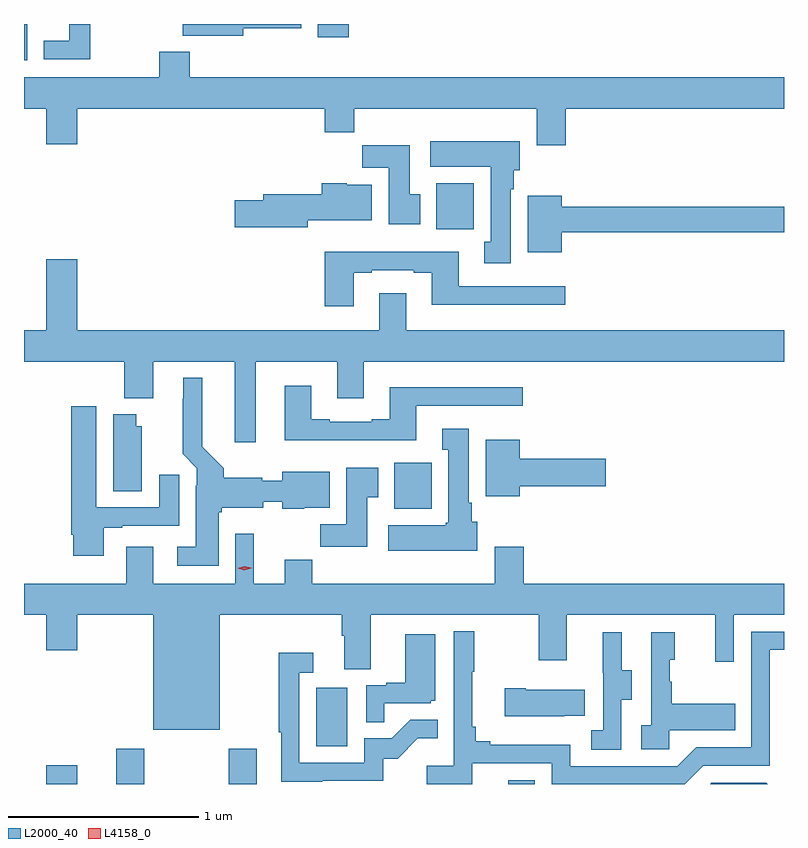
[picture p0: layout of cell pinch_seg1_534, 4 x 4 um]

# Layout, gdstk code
import gdstk
lib = gdstk.Library(unit=1e-6, precision=1e-09)
def R(c, l, rs):  # rectangles x0, y0, x1, y1
    for r in rs: c.add(gdstk.rectangle(r[:2], r[2:], *l))
def P(c, l, *ps):  # polygons
    for p in ps: c.add(gdstk.Polygon(p, *l))
L2000_40 = (2000, 40)
L4158_0 = (4158, 0)

pinch_seg1_534 = lib.new_cell('pinch_seg1_534')
R(pinch_seg1_534, L2000_40, [(1076.096,528.197,1076.26,528.295), (1076.465,528.197,1076.613,528.382), (1077.058,528.197,1077.205,528.382), (1078.529,528.197,1078.668,528.216), (1077.518,528.396,1077.682,528.703), (1077.929,529.646,1078.126,529.888), (1078.151,531.116,1078.348,531.358), (1075.98,532.005,1075.998,532.197), (1077.527,532.128,1077.688,532.197)])
P(pinch_seg1_534, L2000_40, [(1077.133,532.174),(1077.438,532.174),(1077.438,532.197),(1076.815,532.197),(1076.815,532.136),(1077.133,532.136)],
  [(1076.329,532.197),(1076.218,532.197),(1076.218,532.108),(1076.083,532.108),(1076.083,532.011),(1076.329,532.011)],
  [(1078.832,531.752),(1079.98,531.752),(1079.98,531.916),(1076.852,531.916),(1076.852,532.051),(1076.692,532.051),(1076.692,531.916),(1075.98,531.916),(1075.98,531.752),(1076.096,531.752),(1076.096,531.564),(1076.26,531.564),(1076.26,531.752),(1077.563,531.752),(1077.563,531.628),(1077.719,531.628),(1077.719,531.752),(1078.679,531.752),(1078.679,531.558),(1078.832,531.558)],
  [(1078.543,531.326),(1078.558,531.326),(1078.558,531.426),(1078.588,531.426),(1078.588,531.58),(1078.119,531.58),(1078.119,531.446),(1078.436,531.446),(1078.436,531.05),(1078.403,531.05),(1078.403,530.937),(1078.543,530.937)],
  [(1078.066,531.3),(1078.009,531.3),(1078.009,531.559),(1077.76,531.559),(1077.76,531.44),(1077.899,531.44),(1077.899,531.144),(1078.066,531.144)],
  [(1077.474,531.164),(1077.811,531.164),(1077.811,531.352),(1077.678,531.352),(1077.678,531.358),(1077.548,531.358),(1077.548,531.3),(1077.239,531.3),(1077.239,531.27),(1077.09,531.27),(1077.09,531.128),(1077.474,531.128)],
  [(1078.81,531.1),(1079.98,531.1),(1079.98,531.236),(1078.81,531.236),(1078.81,531.292),(1078.631,531.292),(1078.631,530.996),(1078.81,530.996)],
  [(1077.715,530.889),(1077.811,530.889),(1077.811,530.901),(1078.031,530.901),(1078.031,530.889),(1078.127,530.889),(1078.127,530.72),(1078.828,530.72),(1078.828,530.817),(1078.267,530.817),(1078.267,530.998),(1077.563,530.998),(1077.563,530.712),(1077.715,530.712)],
  [(1077.199,530.42),(1077.629,530.42),(1077.629,530.226),(1077.769,530.226),(1077.769,530.42),(1079.98,530.42),(1079.98,530.584),(1077.991,530.584),(1077.991,530.779),(1077.851,530.779),(1077.851,530.584),(1076.26,530.584),(1076.26,530.959),(1076.096,530.959),(1076.096,530.584),(1075.98,530.584),(1075.98,530.42),(1076.507,530.42),(1076.507,530.228),(1076.659,530.228),(1076.659,530.42),(1077.089,530.42),(1077.089,529.995),(1077.199,529.995)],
  [(1077.004,529.626),(1077.022,529.626),(1077.022,529.652),(1077.238,529.652),(1077.238,529.683),(1077.338,529.683),(1077.338,529.646),(1077.456,529.646),(1077.456,529.652),(1077.589,529.652),(1077.589,529.84),(1077.338,529.84),(1077.338,529.793),(1077.234,529.793),(1077.234,529.81),(1077.03,529.81),(1077.03,529.859),(1076.917,529.972),(1076.917,530.335),(1076.819,530.335),(1076.819,530.225),(1076.815,530.225),(1076.815,529.934),(1076.889,529.86),(1076.889,529.766),(1076.885,529.766),(1076.885,529.447),(1076.787,529.447),(1076.787,529.346),(1077.004,529.346)],
  [(1078.045,530.187),(1078.606,530.187),(1078.606,530.284),(1077.905,530.284),(1077.905,530.116),(1077.809,530.116),(1077.809,530.103),(1077.589,530.103),(1077.589,530.116),(1077.493,530.116),(1077.493,530.293),(1077.353,530.293),(1077.353,530.006),(1078.045,530.006)],
  [(1076.401,529.545),(1076.497,529.545),(1076.497,529.557),(1076.797,529.557),(1076.797,529.825),(1076.693,529.825),(1076.693,529.653),(1076.359,529.653),(1076.359,530.185),(1076.228,530.185),(1076.228,529.51),(1076.24,529.51),(1076.24,529.398),(1076.401,529.398)],
  [(1076.599,530.079),(1076.572,530.079),(1076.572,530.143),(1076.45,530.143),(1076.45,529.738),(1076.599,529.738)],
  [(1078.366,529.578),(1078.336,529.578),(1078.336,529.678),(1078.321,529.678),(1078.321,530.068),(1078.181,530.068),(1078.181,529.955),(1078.214,529.955),(1078.214,529.572),(1078.201,529.572),(1078.201,529.558),(1077.897,529.558),(1077.897,529.424),(1078.366,529.424)],
  [(1078.588,529.763),(1079.041,529.763),(1079.041,529.91),(1078.588,529.91),(1078.588,530.008),(1078.409,530.008),(1078.409,529.712),(1078.588,529.712)],
  [(1077.787,529.705),(1077.844,529.705),(1077.844,529.861),(1077.677,529.861),(1077.677,529.564),(1077.538,529.564),(1077.538,529.446),(1077.787,529.446)],
  [(1077.497,529.376),(1077.353,529.376),(1077.353,529.252),(1077.19,529.252),(1077.19,529.513),(1077.093,529.513),(1077.093,529.252),(1076.659,529.252),(1076.659,529.447),(1076.519,529.447),(1076.519,529.252),(1075.98,529.252),(1075.98,529.088),(1076.096,529.088),(1076.096,528.9),(1076.26,528.9),(1076.26,529.088),(1076.66,529.088),(1076.66,528.482),(1077.01,528.482),(1077.01,529.088),(1077.653,529.088),(1077.653,528.976),(1077.665,528.976),(1077.665,528.802),(1077.805,528.802),(1077.805,529.088),(1078.69,529.088),(1078.69,528.849),(1078.837,528.849),(1078.837,529.088),(1079.618,529.088),(1079.618,528.84),(1079.715,528.84),(1079.715,529.088),(1079.98,529.088),(1079.98,529.252),(1078.61,529.252),(1078.61,529.447),(1078.457,529.447),(1078.457,529.252),(1077.497,529.252)],
  [(1078.34,528.306),(1078.758,528.306),(1078.758,528.197),(1079.457,528.197),(1079.554,528.294),(1079.904,528.294),(1079.904,528.903),(1079.98,528.903),(1079.98,528.999),(1079.808,528.999),(1079.808,528.39),(1079.517,528.39),(1079.418,528.291),(1078.854,528.291),(1078.854,528.403),(1078.435,528.403),(1078.435,528.422),(1078.358,528.422),(1078.358,528.499),(1078.339,528.499),(1078.339,528.787),(1078.351,528.787),(1078.351,529),(1078.242,529),(1078.242,528.292),(1078.101,528.292),(1078.101,528.197),(1078.34,528.197)],
  [(1079.124,528.64),(1079.179,528.64),(1079.179,528.795),(1079.125,528.795),(1079.125,528.997),(1079.027,528.997),(1079.027,528.783),(1079.028,528.783),(1079.028,528.479),(1078.965,528.479),(1078.965,528.376),(1079.124,528.376)],
  [(1079.376,528.479),(1079.723,528.479),(1079.723,528.619),(1079.389,528.619),(1079.389,528.734),(1079.379,528.734),(1079.379,528.852),(1079.404,528.852),(1079.404,528.997),(1079.28,528.997),(1079.28,528.506),(1079.229,528.506),(1079.229,528.381),(1079.376,528.381)],
  [(1077.875,528.621),(1078.122,528.621),(1078.122,528.636),(1078.144,528.636),(1078.144,528.985),(1077.986,528.985),(1077.986,528.73),(1077.887,528.73),(1077.887,528.717),(1077.78,528.717),(1077.78,528.523),(1077.875,528.523)],
  [(1077.551,528.213),(1077.87,528.213),(1077.87,528.33),(1077.946,528.33),(1078.053,528.437),(1078.157,528.437),(1078.157,528.536),(1078.013,528.536),(1077.915,528.438),(1077.771,528.438),(1077.771,528.309),(1077.429,528.309),(1077.429,528.783),(1077.502,528.783),(1077.502,528.889),(1077.321,528.889),(1077.321,528.469),(1077.333,528.469),(1077.333,528.208),(1077.551,528.208)],
  [(1078.823,528.557),(1078.931,528.557),(1078.931,528.694),(1078.621,528.694),(1078.621,528.702),(1078.509,528.702),(1078.509,528.554),(1078.823,528.554)],
  [(1079.887,528.204),(1079.598,528.204),(1079.591,528.197),(1079.894,528.197)])
P(pinch_seg1_534, L4158_0, [(1077.14,529.323),(1077.104,529.332),(1077.104,529.333),(1077.104,529.333),(1077.139,529.343),(1077.175,529.334),(1077.175,529.334),(1077.175,529.333)])

lib.write_gds('pinch_seg1_534.gds')
